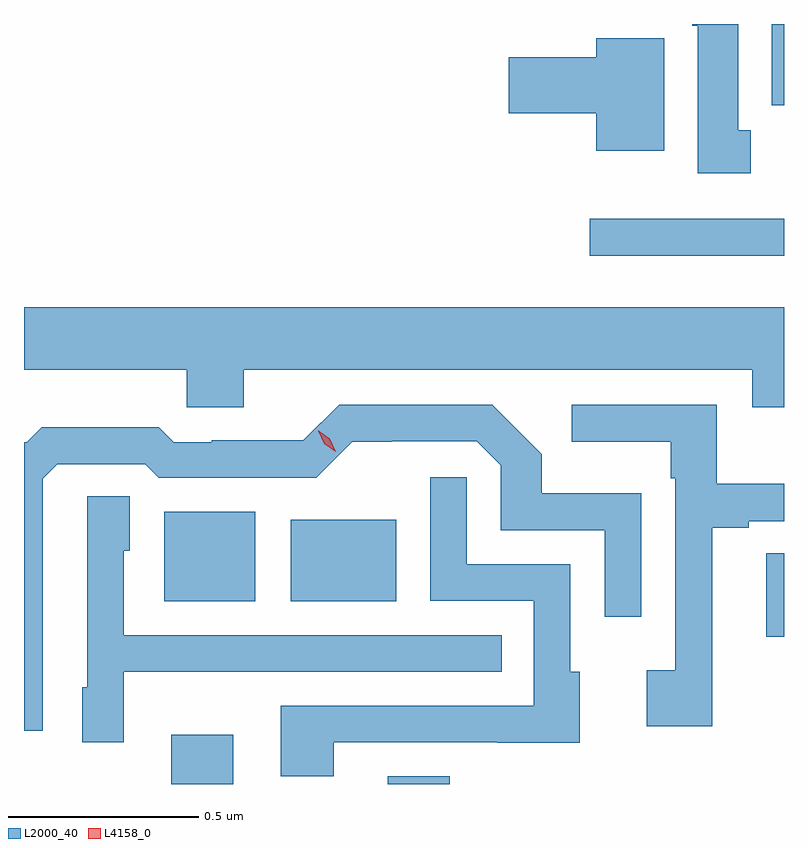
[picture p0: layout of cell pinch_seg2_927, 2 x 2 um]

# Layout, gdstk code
import gdstk
lib = gdstk.Library(unit=1e-6, precision=1e-09)
def R(c, l, rs):  # rectangles x0, y0, x1, y1
    for r in rs: c.add(gdstk.rectangle(r[:2], r[2:], *l))
def P(c, l, *ps):  # polygons
    for p in ps: c.add(gdstk.Polygon(p, *l))
L2000_40 = (2000, 40)
L4158_0 = (4158, 0)

pinch_seg2_927 = lib.new_cell('pinch_seg2_927')
R(pinch_seg2_927, L2000_40, [(449.051,659.866,449.215,659.995), (449.621,659.866,449.785,659.887), (450.617,660.254,450.664,660.473), (449.033,660.347,449.272,660.583), (449.366,660.347,449.644,660.562), (450.153,661.256,450.664,661.353), (450.632,661.652,450.664,661.866)])
P(pinch_seg2_927, L2000_40, [(450.577,661.586),(450.544,661.586),(450.544,661.866),(450.422,661.866),(450.422,661.862),(450.437,661.862),(450.437,661.473),(450.577,661.473)],
  [(450.349,661.828),(450.17,661.828),(450.17,661.778),(449.94,661.778),(449.94,661.631),(450.17,661.631),(450.17,661.532),(450.349,661.532)],
  [(450.664,661.12),(448.664,661.12),(448.664,660.956),(449.092,660.956),(449.092,660.858),(449.242,660.858),(449.242,660.956),(450.581,660.956),(450.581,660.857),(450.664,660.857)],
  [(450.475,660.54),(450.571,660.54),(450.571,660.558),(450.664,660.558),(450.664,660.656),(450.487,660.656),(450.487,660.864),(450.105,660.864),(450.105,660.767),(450.366,660.767),(450.366,660.671),(450.378,660.671),(450.378,660.166),(450.303,660.166),(450.303,660.018),(450.475,660.018)],
  [(448.713,660.669),(448.752,660.708),(448.983,660.708),(449.019,660.672),(449.433,660.672),(449.528,660.767),(449.632,660.767),(449.632,660.768),(449.856,660.768),(449.919,660.705),(449.919,660.534),(450.192,660.534),(450.192,660.306),(450.288,660.306),(450.288,660.631),(450.027,660.631),(450.027,660.734),(449.896,660.864),(449.493,660.864),(449.399,660.77),(449.158,660.77),(449.158,660.765),(449.058,660.765),(449.019,660.805),(448.711,660.805),(448.671,660.765),(448.664,660.765),(448.664,660.006),(448.713,660.006)],
  [(449.479,659.976),(449.909,659.976),(449.909,659.975),(450.127,659.975),(450.127,660.162),(450.102,660.162),(450.102,660.444),(449.829,660.444),(449.829,660.673),(449.733,660.673),(449.733,660.348),(450.006,660.348),(450.006,660.072),(449.339,660.072),(449.339,659.886),(449.479,659.886)],
  [(448.926,660.161),(449.243,660.161),(449.243,660.162),(449.921,660.162),(449.921,660.258),(448.926,660.258),(448.926,660.48),(448.942,660.48),(448.942,660.623),(448.83,660.623),(448.83,660.12),(448.817,660.12),(448.817,659.976),(448.926,659.976)])
P(pinch_seg2_927, L4158_0, [(449.485,660.74),(449.454,660.762),(449.438,660.796),(449.438,660.796),(449.439,660.796),(449.469,660.775),(449.485,660.741),(449.485,660.74)])

lib.write_gds('pinch_seg2_927.gds')
